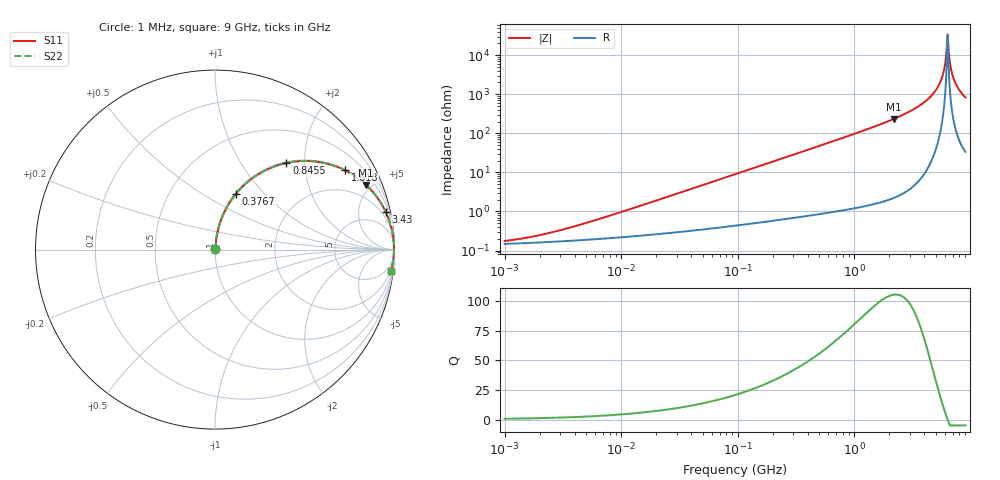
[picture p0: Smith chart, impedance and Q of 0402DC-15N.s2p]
# MHz  S  MA  R  50
!Freq  MagS11  AngS11  MagS21  AngS21  MagS12  AngS12  MagS22  AngS22
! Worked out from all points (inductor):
!   801 points, 1 MHz to 9 GHz, reference 50 ohm
!   read as one part in series: L = 15 nH near 6.252 MHz
!   highest Q = 106 at 2.175 GHz (marker M1), where L = 17 nH
!   self-resonance near 6.271 GHz
!   S11 on the Smith chart (normalised r, x): 1 MHz: 1.00, +0.00; 376.7 MHz: 1.02, +0.71; 845.5 MHz: 1.02, +1.62; 1.618 GHz: 1.03, +3.26; 3.43 GHz: 1.11, +9.15; 9 GHz: 2, -17
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1  0.001748 32.5  0.9985 -0.1  0.9985 -0.1  0.001748 32.5
4.597822  0.004702 66.7  0.9981 -0.2  0.9981 -0.2  0.004702 66.7
20.90065  0.01982 81.3  0.9972 -1.1  0.9972 -1.1  0.01982 81.3
95.0096  0.08893 82.1  0.9918 -5.1  0.9918 -5.1  0.08893 82.1
376.7404  0.3335 69.3  0.9358 -19.5  0.9358 -19.5  0.3335 69.3
436.8372  0.3797 66.6  0.9178 -22.3  0.9178 -22.3  0.3797 66.6
845.4655  0.6259 50.5  0.7715 -38.7  0.7715 -38.7  0.6259 50.5
1617.811  0.8487 31.4  0.5203 -58.1  0.5203 -58.1  0.8487 31.4
1985.762  0.8975 25.6  0.4324 -63.8  0.4324 -63.8  0.8975 25.6
2175.117  0.9154 23.2  0.3939 -66.3  0.3939 -66.3  0.9154 23.2
3429.726  0.9746 12.3  0.2131 -77.0  0.2131 -77.0  0.9746 12.3
4405.92  0.9901 7.1  0.1231 -81.9  0.1231 -81.9  0.9901 7.1
5226.403  0.9955 3.7  0.06453 -84.1  0.06453 -84.1  0.9955 3.7
5724.773  0.9968 1.9  0.03392 -83.6  0.03392 -83.6  0.9968 1.9
5923.679  0.997 1.3  0.02254 -81.8  0.02254 -81.8  0.997 1.3
6129.496  0.9971 0.6  0.01131 -75.0  0.01131 -75.0  0.9971 0.6
6342.464  0.9971 -0.0  0.002941 8.9  0.002941 8.9  0.9971 -0.0
6562.832  0.9969 -0.7  0.01224 75.0  0.01224 75.0  0.9969 -0.7
6868.611  0.9964 -1.6  0.02727 81.7  0.02727 81.7  0.9964 -1.6
7270.948  0.9955 -2.6  0.04628 83.1  0.04628 83.1  0.9955 -2.6
8055.468  0.9927 -4.6  0.08082 82.5  0.08082 82.5  0.9927 -4.6
9000  0.9881 -6.8  0.1188 80.9  0.1188 80.9  0.9881 -6.8
